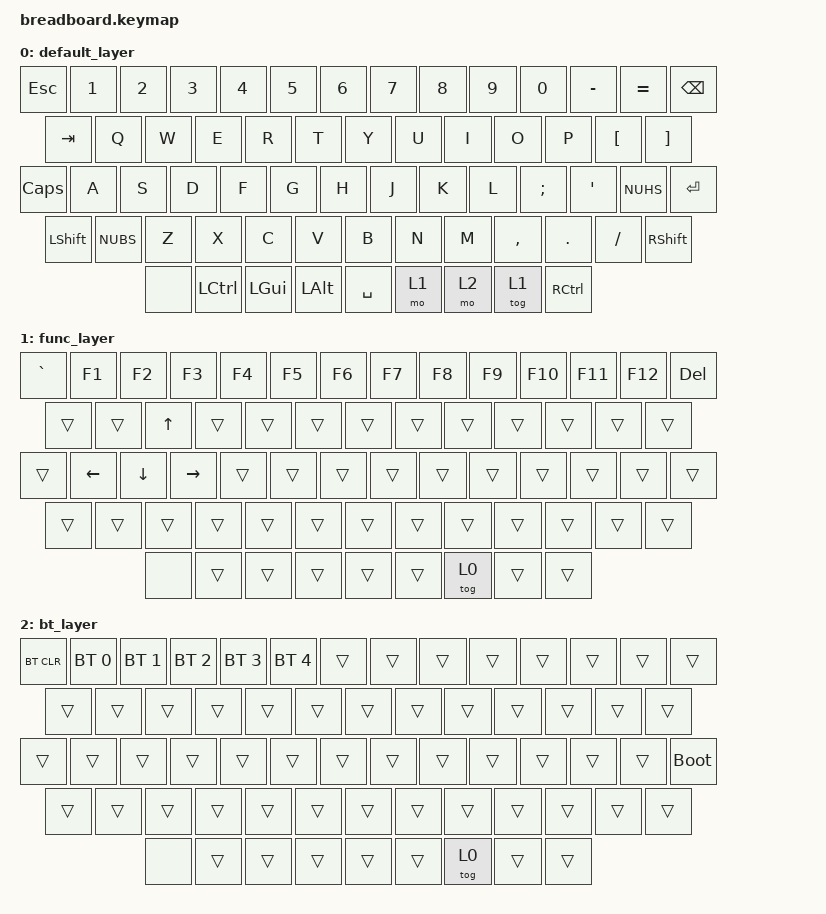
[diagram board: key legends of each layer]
#include <behaviors.dtsi>
#include <dt-bindings/zmk/keys.h>
#include <dt-bindings/zmk/bt.h>

/ {
    keymap {
        compatible = "zmk,keymap";

        default_layer {
            bindings = <
                &kp ESCAPE &kp N1 &kp N2 &kp N3 &kp N4 &kp N5 &kp N6 &kp N7 &kp N8 &kp N9 &kp N0 &kp MINUS &kp EQUAL &kp BSPC
                &kp TAB &kp Q &kp W &kp E &kp R &kp T &kp Y &kp U &kp I &kp O &kp P &kp LBKT &kp RBKT 
                &kp CAPS &kp A &kp S &kp D &kp F &kp G &kp H &kp J &kp K &kp L &kp SEMI &kp SQT &kp NUHS &kp ENTER
                &kp LSHIFT &kp NUBS &kp Z &kp X &kp C &kp V &kp B &kp N &kp M &kp COMMA &kp PERIOD &kp SLASH &kp RSHIFT
                &none &kp LCTRL &kp LGUI &kp LALT &kp SPACE &mo 1 &mo 2 &tog 1 &kp RCTRL
            >;
        };

        func_layer {
            bindings = <
                &kp GRAVE &kp F1 &kp F2 &kp F3 &kp F4 &kp F5 &kp F6 &kp F7 &kp F8 &kp F9 &kp F10 &kp F11 &kp F12 &kp DEL
                &trans &trans &kp UP &trans &trans &trans &trans &trans &trans &trans &trans &trans &trans 
                &trans &kp LEFT &kp DOWN &kp RIGHT &trans &trans &trans &trans &trans &trans &trans &trans &trans &trans 
                &trans &trans &trans &trans &trans &trans &trans &trans &trans &trans &trans &trans &trans 
                &none &trans &trans &trans &trans &trans &tog 0 &trans &trans
            >;
        };

        bt_layer {
            bindings = <
                &bt BT_CLR &bt BT_SEL 0 &bt BT_SEL 1 &bt BT_SEL 2 &bt BT_SEL 3 &bt BT_SEL 4 &trans &trans &trans &trans &trans &trans &trans &trans
                &trans &trans &trans &trans &trans &trans &trans &trans &trans &trans &trans &trans &trans 
                &trans &trans &trans &trans &trans &trans &trans &trans &trans &trans &trans &trans &trans &bootloader 
                &trans &trans &trans &trans &trans &trans &trans &trans &trans &trans &trans &trans &trans 
                &none &trans &trans &trans &trans &trans &tog 0 &trans &trans
            >;
        };
    };
};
